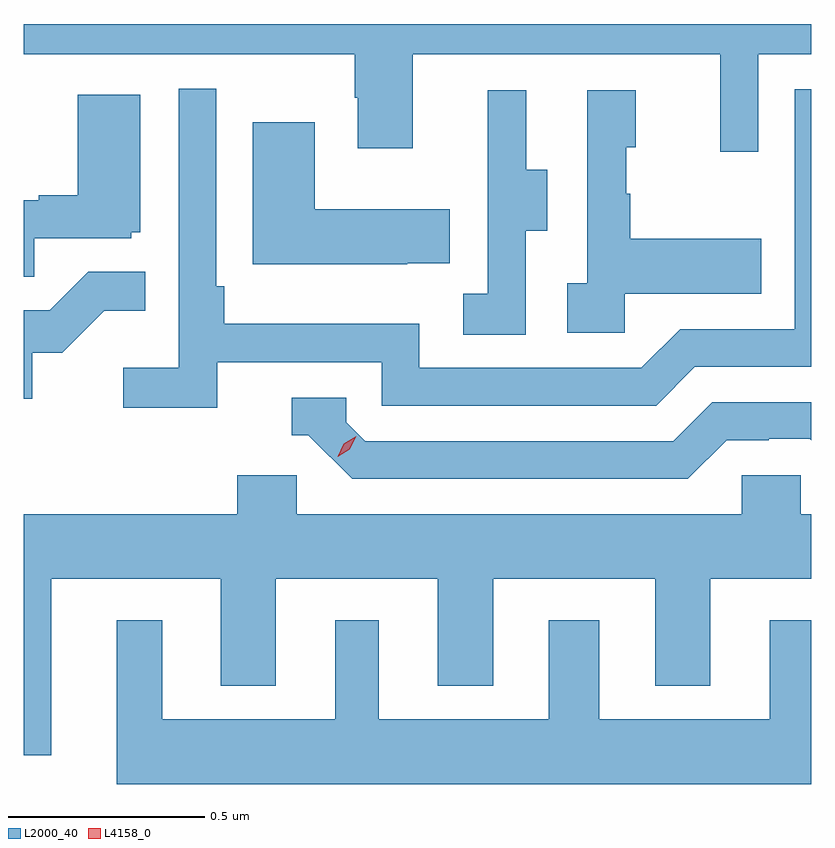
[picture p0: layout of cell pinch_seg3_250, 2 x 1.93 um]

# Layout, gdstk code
import gdstk
lib = gdstk.Library(unit=1e-6, precision=1e-09)
def P(c, l, *ps):  # polygons
    for p in ps: c.add(gdstk.Polygon(p, *l))
L2000_40 = (2000, 40)
L4158_0 = (4158, 0)

pinch_seg3_250 = lib.new_cell('pinch_seg3_250')
P(pinch_seg3_250, L2000_40, [(901.227,744.872),(901.361,744.872),(901.361,744.949),(899.361,744.949),(899.361,744.872),(900.202,744.872),(900.202,744.761),(900.209,744.761),(900.209,744.633),(900.349,744.633),(900.349,744.872),(901.13,744.872),(901.13,744.624),(901.227,744.624)],
  [(899.852,744.09),(900.27,744.09),(900.27,743.979),(900.967,743.979),(901.066,744.078),(901.361,744.078),(901.361,744.783),(901.32,744.783),(901.32,744.174),(901.029,744.174),(900.93,744.075),(900.366,744.075),(900.366,744.187),(899.87,744.187),(899.87,744.283),(899.85,744.283),(899.85,744.784),(899.754,744.784),(899.754,744.076),(899.613,744.076),(899.613,743.974),(899.852,743.974)],
  [(900.636,744.424),(900.691,744.424),(900.691,744.579),(900.637,744.579),(900.637,744.781),(900.539,744.781),(900.539,744.567),(900.54,744.567),(900.54,744.263),(900.477,744.263),(900.477,744.16),(900.636,744.16)],
  [(900.888,744.263),(901.235,744.263),(901.235,744.403),(900.901,744.403),(900.901,744.518),(900.891,744.518),(900.891,744.636),(900.916,744.636),(900.916,744.781),(900.792,744.781),(900.792,744.29),(900.741,744.29),(900.741,744.165),(900.888,744.165)],
  [(899.387,744.405),(899.634,744.405),(899.634,744.42),(899.656,744.42),(899.656,744.769),(899.498,744.769),(899.498,744.514),(899.399,744.514),(899.399,744.501),(899.361,744.501),(899.361,744.307),(899.387,744.307)],
  [(900.335,744.341),(900.443,744.341),(900.443,744.478),(900.1,744.478),(900.1,744.7),(899.942,744.7),(899.942,744.338),(900.335,744.338)],
  [(899.382,744.114),(899.458,744.114),(899.565,744.221),(899.669,744.221),(899.669,744.32),(899.525,744.32),(899.427,744.222),(899.361,744.222),(899.361,743.997),(899.382,743.997)],
  [(901.147,743.892),(901.254,743.892),(901.254,743.895),(901.357,743.895),(901.361,743.891),(901.361,743.988),(901.11,743.988),(901.011,743.889),(900.228,743.889),(900.18,743.937),(900.18,744),(900.041,744),(900.041,743.904),(900.084,743.904),(900.195,743.793),(901.048,743.793)],
  [(899.431,743.54),(899.861,743.54),(899.861,743.267),(900.001,743.267),(900.001,743.54),(900.413,743.54),(900.413,743.267),(900.553,743.267),(900.553,743.54),(900.965,743.54),(900.965,743.267),(901.105,743.267),(901.105,743.54),(901.361,743.54),(901.361,743.704),(901.335,743.704),(901.335,743.802),(901.185,743.802),(901.185,743.704),(900.054,743.704),(900.054,743.802),(899.903,743.802),(899.903,743.704),(899.361,743.704),(899.361,743.091),(899.431,743.091)],
  [(901.361,743.434),(901.256,743.434),(901.256,743.182),(900.823,743.182),(900.823,743.434),(900.695,743.434),(900.695,743.182),(900.262,743.182),(900.262,743.434),(900.152,743.434),(900.152,743.182),(899.713,743.182),(899.713,743.434),(899.597,743.434),(899.597,743.018),(901.361,743.018)])
P(pinch_seg3_250, L4158_0, [(900.158,743.85),(900.158,743.85),(900.174,743.883),(900.206,743.902),(900.206,743.902),(900.206,743.902),(900.189,743.869),(900.158,743.85)])

lib.write_gds('pinch_seg3_250.gds')
